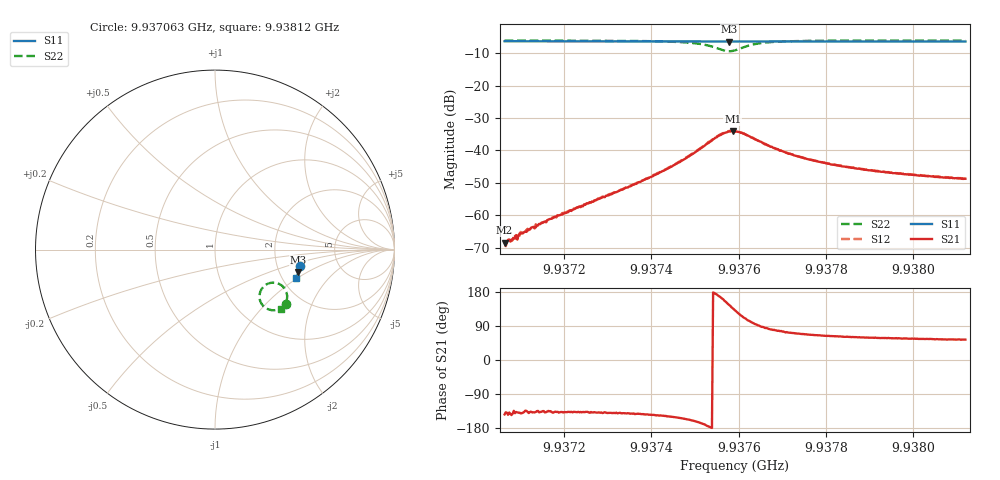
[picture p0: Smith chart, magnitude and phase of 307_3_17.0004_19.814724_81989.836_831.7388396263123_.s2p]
#  HZ  S  RI  R  50.00
! Rohde & Schwarz Vector Network Analyzer
! Rohde-Schwarz,ZNB20-2Port,1311601062101988,3.16
! Created: UTC 3/20/2024, 11:05:51 PM
! freq[Hz]  re:S11  im:S11  re:S21  im:S21  re:S12  im:S12  re:S22  im:S22
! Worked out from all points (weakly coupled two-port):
!   401 points, 9.937063 GHz to 9.93812 GHz, reference 50 ohm
!   highest |S21| = -34.04 dB at 9.937586 GHz (marker M1); lowest = -68.4 dB at 9.937063 GHz (marker M2)
!   lowest |S11| = -6.4 dB at 9.937578 GHz (marker M3), VSWR 2.85, Z = 127 - j41.3 ohm
!   |S11| at or under -10 dB: nowhere
!   |S22| runs from -9.4 to -6.0 dB; largest |S21 - S12| = 0.00093
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9.9370633e9  0.4756 -0.0919  -0.000305 -0.000224  -0.00028 -0.000247  0.3952 -0.3034
9.9370818e9  0.4752 -0.0933  -0.000329 -0.000264  -0.00032 -0.000261  0.3939 -0.3046
9.937103e9  0.475 -0.0947  -0.000403 -0.000335  -0.00041 -0.000341  0.3925 -0.3063
9.9371267e9  0.4744 -0.0964  -0.000488 -0.000433  -0.000468 -0.000398  0.3906 -0.308
9.9371399e9  0.4742 -0.0973  -0.000496 -0.000505  -0.000521 -0.000457  0.3896 -0.3091
9.9371795e9  0.4735 -0.0999  -0.000676 -0.000648  -0.000694 -0.000651  0.3861 -0.3121
9.9372403e9  0.4722 -0.104  -0.00104 -0.000938  -0.00106 -0.000936  0.3806 -0.317
9.9373486e9  0.4703 -0.1112  -0.00215 -0.00175  -0.0022 -0.00176  0.3652 -0.3272
9.9374172e9  0.4685 -0.1161  -0.00375 -0.00247  -0.00381 -0.00247  0.3481 -0.3345
9.93747e9  0.4673 -0.1197  -0.00628 -0.00307  -0.00643 -0.00301  0.3246 -0.338
9.9375202e9  0.4655 -0.1229  -0.0114 -0.00213  -0.0117 -0.00198  0.2822 -0.3248
9.9375572e9  0.464 -0.1247  -0.0168 0.00395  -0.017 0.00465  0.2481 -0.2681
9.9375783e9  0.4634 -0.1253  -0.0161 0.0112  -0.0161 0.0119  0.2641 -0.2138
9.9375862e9  0.4634 -0.1256  -0.0144 0.0137  -0.014 0.0143  0.2811 -0.1976
9.9375915e9  0.4633 -0.1256  -0.0128 0.0147  -0.0127 0.0154  0.2943 -0.1903
9.9376074e9  0.4635 -0.1263  -0.00803 0.0168  -0.00769 0.0171  0.3354 -0.1847
9.9376496e9  0.4636 -0.1291  0.000244 0.0137  0.000479 0.0138  0.3927 -0.2246
9.9377103e9  0.4628 -0.1337  0.00256 0.00877  0.00285 0.0088  0.4019 -0.2689
9.9377684e9  0.4616 -0.1378  0.00284 0.00648  0.00298 0.00646  0.397 -0.2902
9.9378424e9  0.4597 -0.1427  0.00272 0.00494  0.0028 0.00493  0.3901 -0.3055
9.9379454e9  0.4571 -0.1494  0.00243 0.00384  0.00256 0.00384  0.3813 -0.3186
9.9381197e9  0.4525 -0.1607  0.00217 0.00295  0.00227 0.00292  0.3689 -0.3333
